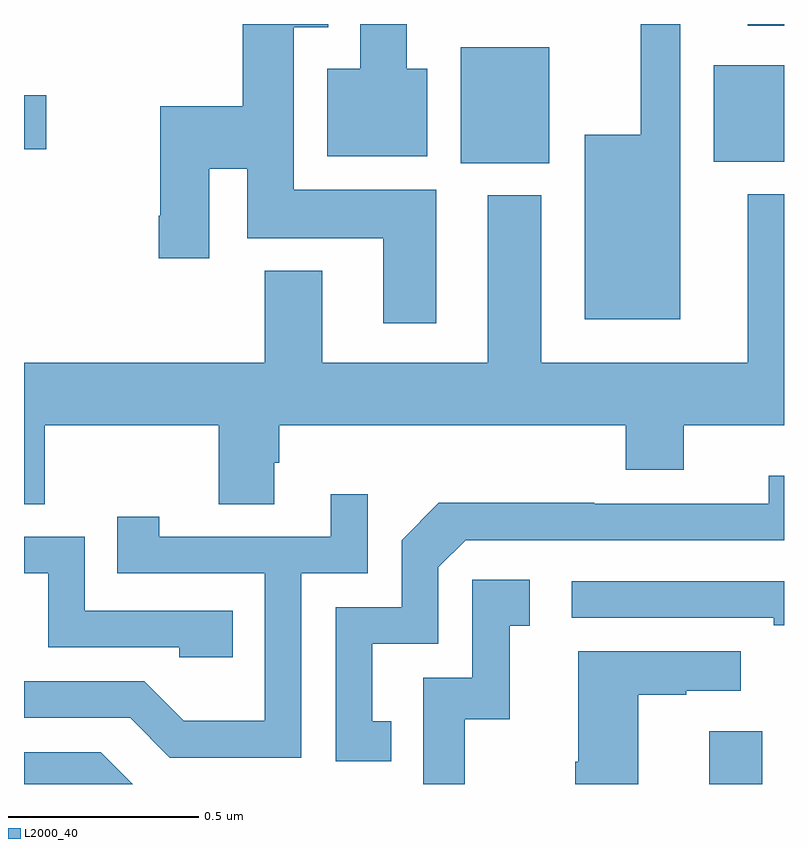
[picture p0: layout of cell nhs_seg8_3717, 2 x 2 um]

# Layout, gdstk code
import gdstk
lib = gdstk.Library(unit=1e-6, precision=1e-09)
def R(c, l, rs):  # rectangles x0, y0, x1, y1
    for r in rs: c.add(gdstk.rectangle(r[:2], r[2:], *l))
def P(c, l, *ps):  # polygons
    for p in ps: c.add(gdstk.Polygon(p, *l))
L2000_40 = (2000, 40)

nhs_seg8_3717 = lib.new_cell('nhs_seg8_3717')
R(nhs_seg8_3717, L2000_40, [(162.803,1104.9,162.943,1105.039), (162.149,1106.534,162.382,1106.839), (162.815,1106.537,163,1106.791), (161,1106.57,161.059,1106.712), (162.905,1106.895,163,1106.9)])
P(nhs_seg8_3717, L2000_40, [(162.727,1106.9),(162.623,1106.9),(162.623,1106.608),(162.476,1106.608),(162.476,1106.123),(162.727,1106.123)],
  [(162.085,1106.464),(161.71,1106.464),(161.71,1106.891),(161.8,1106.891),(161.8,1106.9),(161.576,1106.9),(161.576,1106.684),(161.359,1106.684),(161.359,1106.395),(161.354,1106.395),(161.354,1106.283),(161.488,1106.283),(161.488,1106.519),(161.588,1106.519),(161.588,1106.336),(161.945,1106.336),(161.945,1106.112),(162.085,1106.112)],
  [(162.061,1106.782),(162.007,1106.782),(162.007,1106.9),(161.885,1106.9),(161.885,1106.782),(161.798,1106.782),(161.798,1106.552),(162.061,1106.552)],
  [(161.055,1105.844),(161.512,1105.844),(161.512,1105.636),(161.659,1105.636),(161.659,1105.746),(161.672,1105.746),(161.672,1105.844),(162.584,1105.844),(162.584,1105.727),(162.736,1105.727),(162.736,1105.844),(163,1105.844),(163,1106.452),(162.905,1106.452),(162.905,1106.008),(162.361,1106.008),(162.361,1106.449),(162.221,1106.449),(162.221,1106.008),(161.785,1106.008),(161.785,1106.251),(161.633,1106.251),(161.633,1106.008),(161,1106.008),(161,1105.636),(161.055,1105.636)],
  [(161.966,1105.065),(161.917,1105.065),(161.917,1105.269),(162.09,1105.269),(162.09,1105.47),(162.162,1105.542),(163,1105.542),(163,1105.711),(162.96,1105.711),(162.96,1105.638),(162.5,1105.638),(162.5,1105.64),(162.092,1105.64),(161.994,1105.542),(161.994,1105.365),(161.82,1105.365),(161.82,1104.96),(161.966,1104.96)],
  [(161.73,1105.455),(161.904,1105.455),(161.904,1105.663),(161.807,1105.663),(161.807,1105.551),(161.356,1105.551),(161.356,1105.603),(161.245,1105.603),(161.245,1105.455),(161.634,1105.455),(161.634,1105.066),(161.42,1105.066),(161.316,1105.17),(161,1105.17),(161,1105.074),(161.279,1105.074),(161.384,1104.969),(161.73,1104.969)],
  [(161.549,1105.356),(161.16,1105.356),(161.16,1105.551),(161,1105.551),(161,1105.455),(161.064,1105.455),(161.064,1105.26),(161.409,1105.26),(161.409,1105.233),(161.549,1105.233)],
  [(162.16,1105.071),(162.278,1105.071),(162.278,1105.317),(162.331,1105.317),(162.331,1105.438),(162.18,1105.438),(162.18,1105.179),(162.051,1105.179),(162.051,1104.9),(162.16,1104.9)],
  [(163,1105.434),(162.441,1105.434),(162.441,1105.338),(162.973,1105.338),(162.973,1105.318),(163,1105.318)],
  [(162.616,1105.135),(162.743,1105.135),(162.743,1105.145),(162.886,1105.145),(162.886,1105.249),(162.458,1105.249),(162.458,1104.958),(162.451,1104.958),(162.451,1104.9),(162.616,1104.9)],
  [(161.202,1104.984),(161,1104.984),(161,1104.9),(161.286,1104.9)])

lib.write_gds('nhs_seg8_3717.gds')
